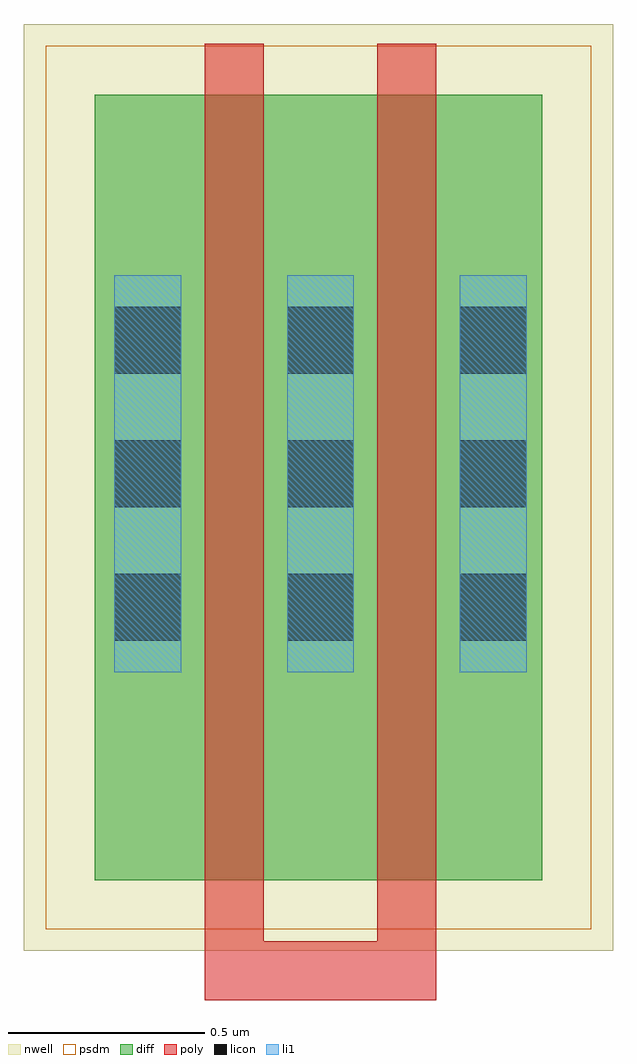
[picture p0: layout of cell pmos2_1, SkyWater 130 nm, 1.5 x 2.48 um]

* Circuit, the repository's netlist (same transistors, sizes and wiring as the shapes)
* NGSPICE file created from pmos2_1.ext - technology: sky130A

.subckt pmos2_1
X0 a_174_n399# a_144_n460# a_88_n399# w_52_n435# sky130_fd_pr__pfet_01v8 ad=0.29 pd=2.29 as=0.56 ps=4.56 w=2 l=0.15
X1 a_262_n399# a_144_n460# a_174_n399# w_52_n435# sky130_fd_pr__pfet_01v8 ad=0.54 pd=4.54 as=0.29 ps=2.29 w=2 l=0.15
.ends

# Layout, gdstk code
import gdstk
lib = gdstk.Library(unit=1e-6, precision=1e-09)
def R(c, l, rs):  # rectangles x0, y0, x1, y1
    for r in rs: c.add(gdstk.rectangle(r[:2], r[2:], *l))
def A(c, l, x, y, w, h, nx, ny, dx, dy):  # array of equal rectangles
    R(c, l, [(x+i*dx, y+j*dy, x+i*dx+w, y+j*dy+h) for i in range(nx) for j in range(ny)])
nwell = (64, 20)
diff = (65, 20)
poly = (66, 20)
licon = (66, 44)
li1 = (67, 20)
psdm = (94, 20)

pmos2_1 = lib.new_cell('pmos2_1')
R(pmos2_1, nwell, [(0.26,-2.175,1.76,0.185)])
R(pmos2_1, diff, [(0.44,-1.995,1.58,0.005)])
R(pmos2_1, poly, [(0.72,-2.3,1.31,-2.15), (0.72,-2.15,0.87,0.135), (1.16,-2.15,1.31,0.135)])
A(pmos2_1, licon, 0.49, -1.385, 0.17, 0.17, 3, 3, 0.44, 0.34)
A(pmos2_1, li1, 0.49, -1.465, 0.17, 1.01, 3, 1, 0.44, 0)
R(pmos2_1, psdm, [(0.315,-2.12,1.705,0.13)])

lib.write_gds('pmos2_1.gds')
